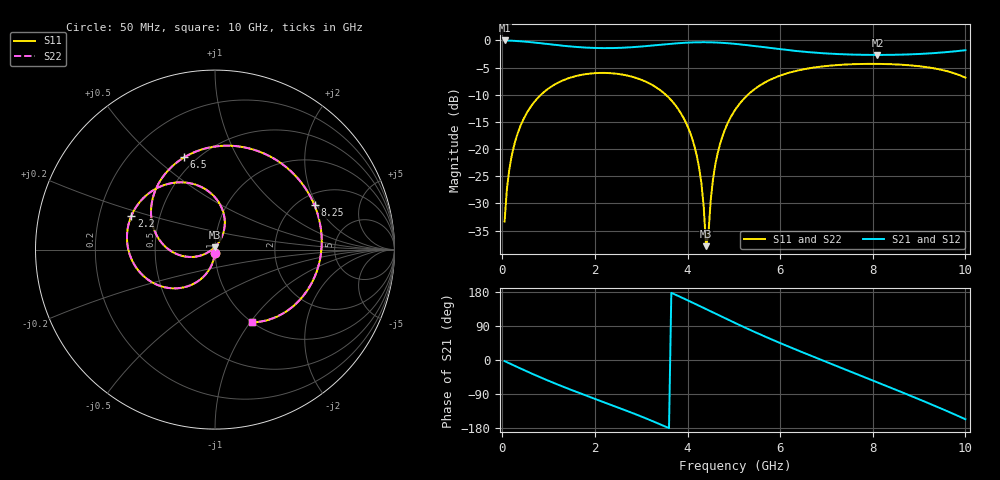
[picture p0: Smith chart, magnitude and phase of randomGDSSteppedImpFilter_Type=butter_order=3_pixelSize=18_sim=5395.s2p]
! freq	dB(S11)	phase(S11)	dB(S12)	phase(S12)
!  dB(S21)	phase(S21)	dB(S22)	phase(S22)
!S-par simulation data
#  GHz  S  DB  R 50
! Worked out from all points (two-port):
!   200 points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, 50 MHz to 10 GHz, reference 50 ohm
!   highest |S21| = 0.00 dB at 50 MHz (marker M1); lowest = -2.7 dB at 8.1 GHz (marker M2)
!   |S21| within 3 dB of the highest: start of sweep to end of sweep
!   lowest |S11| = -37.9 dB at 4.4 GHz (marker M3), VSWR 1.03, Z = 49.8 + j1.26 ohm
!   |S11| at or under -10 dB: start of sweep to 834.8 MHz; 3.53 GHz to 5.303 GHz (1.773 GHz wide, 40.1 % of centre)
!   |S22| runs from -37.5 to -4.3 dB; largest |S21 - S12| = 0
!   S11 on the Smith chart (normalised r, x): 50 MHz: 1.00, -0.04; 2.2 GHz: 0.34, +0.17; 6.5 GHz: 0.43, +0.63; 8.25 GHz: 2.44, +1.90; 10 GHz: 1.00, -1.02
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0.05  -33.32 -92.9  -0.00 -2.9  -0.00 -2.9  -33.32 -92.9
0.2  -21.37 -101.9  -0.05 -11.5  -0.05 -11.5  -21.37 -101.9
0.5  -13.79 -118.9  -0.23 -28.4  -0.23 -28.4  -13.79 -118.9
1.1  -8.27 -150.5  -0.78 -60.0  -0.78 -60.0  -8.27 -150.5
1.75  -6.27 178.5  -1.29 -91.0  -1.29 -91.0  -6.27 178.5
2.2  -5.98 158.0  -1.42 -111.6  -1.42 -111.6  -5.98 158.0
3.4  -9.09 101.1  -0.81 -169.3  -0.81 -169.3  -9.09 101.2
4.15  -19.48 63.6  -0.35 149.0  -0.35 149.0  -19.47 63.9
4.3  -26.33 61.7  -0.33 140.2  -0.33 140.2  -26.30 62.4
4.4  -37.86 97.7  -0.33 134.3  -0.33 134.3  -37.49 99.3
4.55  -25.54 -156.6  -0.36 125.5  -0.36 125.5  -25.52 -157.3
4.65  -20.77 -157.6  -0.39 119.6  -0.39 119.6  -20.77 -158.0
5.05  -12.51 -176.7  -0.65 96.3  -0.65 96.3  -12.51 -176.8
5.8  -7.18 143.6  -1.41 55.2  -1.41 55.2  -7.18 143.6
6.5  -5.32 108.5  -2.07 19.5  -2.07 19.5  -5.32 108.5
6.7  -5.03 98.7  -2.22 9.6  -2.22 9.6  -5.03 98.7
7.35  -4.46 67.3  -2.54 -22.2  -2.54 -22.2  -4.46 67.3
8.1  -4.32 31.2  -2.67 -58.9  -2.67 -58.9  -4.32 31.2
8.25  -4.34 24.0  -2.66 -66.3  -2.66 -66.3  -4.34 24.0
8.35  -4.36 19.1  -2.66 -71.2  -2.66 -71.2  -4.36 19.2
9.2  -4.96 -22.3  -2.40 -113.8  -2.40 -113.8  -4.96 -22.2
10  -6.85 -63.1  -1.80 -156.4  -1.80 -156.4  -6.85 -62.9
